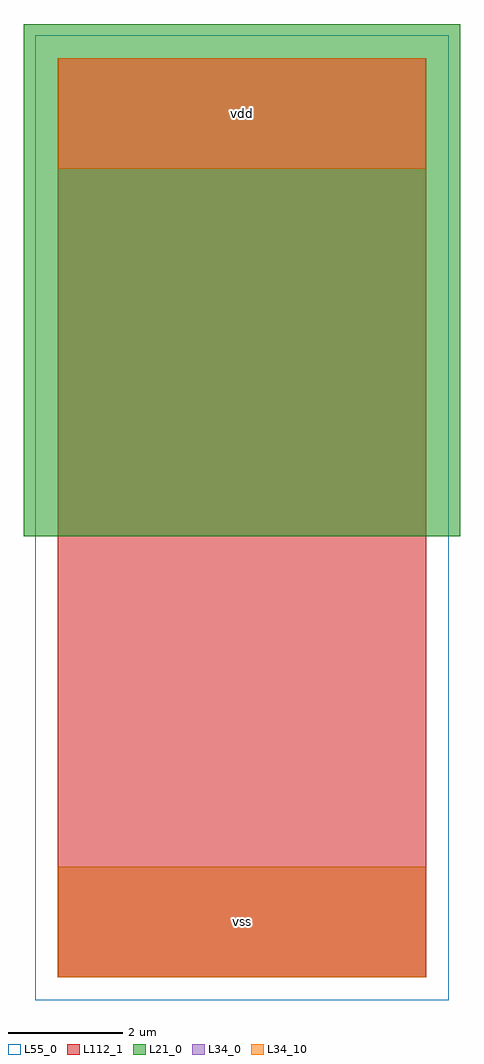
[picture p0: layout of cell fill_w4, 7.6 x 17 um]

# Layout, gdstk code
import gdstk
lib = gdstk.Library(unit=1e-6, precision=1e-09)
def R(c, l, rs):  # rectangles x0, y0, x1, y1
    for r in rs: c.add(gdstk.rectangle(r[:2], r[2:], *l))
L21_0 = (21, 0)
L34_0 = (34, 0)
L34_10 = (34, 10)
L55_0 = (55, 0)
L112_1 = (112, 1)

fill_w4 = lib.new_cell('fill_w4')
R(fill_w4, L21_0, [(-0.6,7.68,7,16.6)])
R(fill_w4, L34_0, [(0,0,6.4,1.92), (0,14.08,6.4,16)])
R(fill_w4, L34_10, [(0,0,6.4,1.92), (0,14.08,6.4,16)])
R(fill_w4, L55_0, [(-0.4,-0.4,6.8,16.4)])
R(fill_w4, L112_1, [(-0.005,-0.005,6.405,16.005)])
fill_w4.add(gdstk.Label('vdd', (3.2,15.04), layer=34, texttype=10))
fill_w4.add(gdstk.Label('vss', (3.2,0.96), layer=34, texttype=10))

lib.write_gds('fill_w4.gds')
